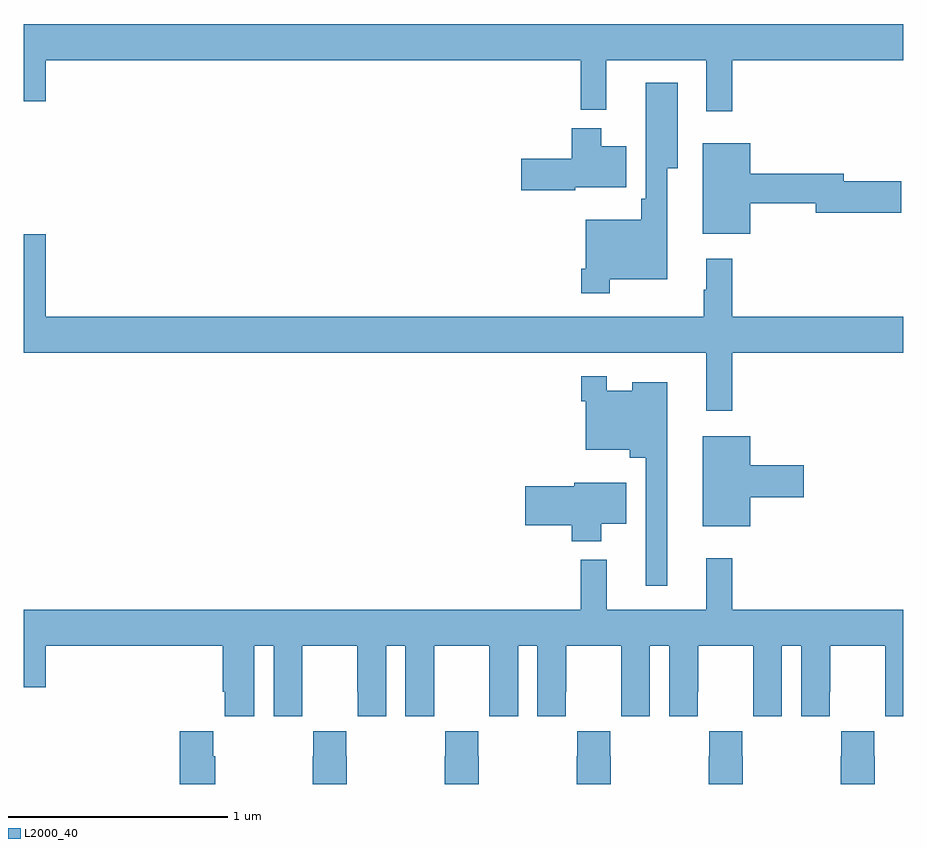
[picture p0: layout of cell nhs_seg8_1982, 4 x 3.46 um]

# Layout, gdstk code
import gdstk
lib = gdstk.Library(unit=1e-6, precision=1e-09)
def P(c, l, *ps):  # polygons
    for p in ps: c.add(gdstk.Polygon(p, *l))
L2000_40 = (2000, 40)

nhs_seg8_1982 = lib.new_cell('nhs_seg8_1982')
P(nhs_seg8_1982, L2000_40, [(240.221,1091.192),(241,1091.192),(241,1091.356),(237,1091.356),(237,1091.004),(237.1,1091.004),(237.1,1091.192),(239.533,1091.192),(239.533,1090.967),(239.65,1090.967),(239.65,1091.192),(240.104,1091.192),(240.104,1090.959),(240.221,1090.959)],
  [(239.665,1090.196),(239.926,1090.196),(239.926,1090.7),(239.974,1090.7),(239.974,1091.089),(239.828,1091.089),(239.828,1090.561),(239.809,1090.561),(239.809,1090.465),(239.556,1090.465),(239.556,1090.243),(239.536,1090.243),(239.536,1090.131),(239.665,1090.131)],
  [(239.508,1090.613),(239.74,1090.613),(239.74,1090.801),(239.626,1090.801),(239.626,1090.882),(239.492,1090.882),(239.492,1090.743),(239.262,1090.743),(239.262,1090.601),(239.508,1090.601)],
  [(240.304,1090.54),(240.602,1090.54),(240.602,1090.498),(240.991,1090.498),(240.991,1090.64),(240.73,1090.64),(240.73,1090.676),(240.304,1090.676),(240.304,1090.813),(240.089,1090.813),(240.089,1090.403),(240.304,1090.403)],
  [(240.221,1089.86),(241,1089.86),(241,1090.024),(240.221,1090.024),(240.221,1090.288),(240.104,1090.288),(240.104,1090.148),(240.093,1090.148),(240.093,1090.024),(237.1,1090.024),(237.1,1090.399),(237,1090.399),(237,1089.86),(240.104,1089.86),(240.104,1089.597),(240.221,1089.597)],
  [(239.926,1089.727),(239.768,1089.727),(239.768,1089.688),(239.652,1089.688),(239.652,1089.754),(239.536,1089.754),(239.536,1089.641),(239.556,1089.641),(239.556,1089.419),(239.756,1089.419),(239.756,1089.383),(239.829,1089.383),(239.829,1088.802),(239.926,1088.802)],
  [(240.304,1089.203),(240.547,1089.203),(240.547,1089.35),(240.304,1089.35),(240.304,1089.481),(240.089,1089.481),(240.089,1089.071),(240.304,1089.071)],
  [(239.626,1089.083),(239.74,1089.083),(239.74,1089.271),(239.504,1089.271),(239.504,1089.254),(239.28,1089.254),(239.28,1089.076),(239.492,1089.076),(239.492,1089.005),(239.626,1089.005)],
  [(237,1088.34),(237.1,1088.34),(237.1,1088.528),(237.905,1088.528),(237.905,1088.32),(237.914,1088.32),(237.914,1088.208),(238.048,1088.208),(238.048,1088.528),(238.136,1088.528),(238.136,1088.208),(238.266,1088.208),(238.266,1088.32),(238.267,1088.32),(238.267,1088.528),(238.517,1088.528),(238.517,1088.32),(238.518,1088.32),(238.518,1088.208),(238.648,1088.208),(238.648,1088.528),(238.736,1088.528),(238.736,1088.208),(238.866,1088.208),(238.866,1088.32),(238.867,1088.32),(238.867,1088.528),(239.117,1088.528),(239.117,1088.32),(239.118,1088.32),(239.118,1088.208),(239.248,1088.208),(239.248,1088.528),(239.336,1088.528),(239.336,1088.208),(239.466,1088.208),(239.466,1088.32),(239.467,1088.32),(239.467,1088.528),(239.717,1088.528),(239.717,1088.32),(239.718,1088.32),(239.718,1088.208),(239.848,1088.208),(239.848,1088.528),(239.936,1088.528),(239.936,1088.208),(240.066,1088.208),(240.066,1088.32),(240.067,1088.32),(240.067,1088.528),(240.317,1088.528),(240.317,1088.32),(240.318,1088.32),(240.318,1088.208),(240.448,1088.208),(240.448,1088.528),(240.536,1088.528),(240.536,1088.208),(240.666,1088.208),(240.666,1088.32),(240.667,1088.32),(240.667,1088.528),(240.917,1088.528),(240.917,1088.32),(240.918,1088.32),(240.918,1088.208),(241,1088.208),(241,1088.692),(240.221,1088.692),(240.221,1088.926),(240.104,1088.926),(240.104,1088.692),(239.651,1088.692),(239.651,1088.92),(239.533,1088.92),(239.533,1088.692),(237,1088.692)],
  [(240.87,1088.027),(240.867,1088.027),(240.867,1088.14),(240.717,1088.14),(240.717,1088.027),(240.715,1088.027),(240.715,1087.9),(240.87,1087.9)],
  [(237.87,1088.027),(237.863,1088.027),(237.863,1088.14),(237.71,1088.14),(237.71,1087.9),(237.87,1087.9)],
  [(238.47,1088.027),(238.467,1088.027),(238.467,1088.14),(238.317,1088.14),(238.317,1088.027),(238.315,1088.027),(238.315,1087.9),(238.47,1087.9)],
  [(239.07,1088.027),(239.067,1088.027),(239.067,1088.14),(238.917,1088.14),(238.917,1088.027),(238.915,1088.027),(238.915,1087.9),(239.07,1087.9)],
  [(239.67,1088.027),(239.667,1088.027),(239.667,1088.14),(239.517,1088.14),(239.517,1088.027),(239.515,1088.027),(239.515,1087.9),(239.67,1087.9)],
  [(240.27,1088.027),(240.267,1088.027),(240.267,1088.14),(240.117,1088.14),(240.117,1088.027),(240.115,1088.027),(240.115,1087.9),(240.27,1087.9)])

lib.write_gds('nhs_seg8_1982.gds')
